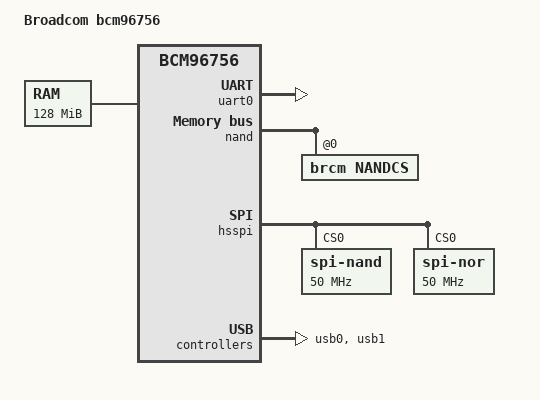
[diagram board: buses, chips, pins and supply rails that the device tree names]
// SPDX-License-Identifier: GPL-2.0+
/*
 * Copyright 2021 Broadcom Ltd.
 */


/dts-v1/;

#include "bcm6756.dtsi"

/ {
	model = "Broadcom bcm96756";
	compatible = "broadcom,bcm96756", "brcm,bcm96756";

	aliases {
		serial0 = &uart0;
		spi1 = &hsspi;
	};

	chosen {
		stdout-path = "serial0:115200n8";
	};

	memory {
		device_type = "memory";
		reg = <0x0 0x08000000>;
	};
};

&uart0 {
	status = "okay";
};

&nand {
	status = "okay";
	write-protect = <0>;
	#address-cells = <1>;
	#size-cells = <0>;

	nandcs@0 {
		compatible = "brcm,nandcs";
		reg = <0>;
	};
};

&hsspi {
	status = "okay";
	spi-nand {
		compatible = "spi-nand";
		reg = <0>;
		pinctrl-0 = <&spim_ss0_b_pin_75>;
		pinctrl-names = "default";	
		#address-cells = <1>;
		#size-cells = <0>;
		u-boot,dm-pre-reloc;
		spi-max-frequency = <50000000>;
	};
	spi-nor@0 {
		pinctrl-0 = <&spim_ss0_b_pin_75>;
		pinctrl-names = "default";
		compatible = "jedec,spi-nor";
		reg = <0>;
		#address-cells = <1>;
		#size-cells = <0>;
		spi-max-frequency = <50000000>;
		u-boot,dm-pre-reloc;
	};
};

&usb0 {
	status = "okay";
	pinctrl-0 = <&usb0_pwr_pins>;
	pinctrl-names="default";
};

&usb1 {
	status = "okay";
	pinctrl-0 = <&usb1_pwr_pins>;
	pinctrl-names="default";
};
